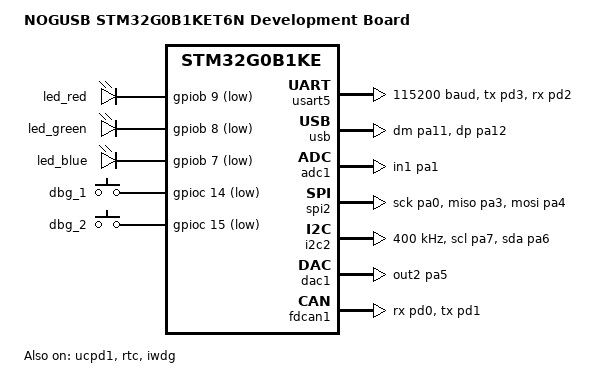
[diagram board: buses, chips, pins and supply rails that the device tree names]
/dts-v1/;
#include <st/g0/stm32g0b1Xe.dtsi>
#include <st/g0/stm32g0b1k(b-c-e)txn-pinctrl.dtsi>

/ {
    model = "NOGUSB STM32G0B1KET6N Development Board";
    compatible = "st,stm32g0b1ke";

    chosen {
        zephyr,console = &usart5;
        zephyr,sram = &sram0;
        zephyr,flash = &flash0;
        zephyr,code-partition = &slot0_partition;
    };

    aliases {
        led0 = &led_red;
        led1 = &led_green;
        led2 = &led_blue;
        sw0  = &dbg_1;
        sw1  = &dbg_2;
        mcuboot-led0 = &led_blue;
        mcuboot-button0 = &dbg_1;
    };

    leds {
        compatible = "gpio-leds";
        led_red:   led_0 { gpios = <&gpiob 9 GPIO_ACTIVE_LOW>; };
        led_green: led_1 { gpios = <&gpiob 8 GPIO_ACTIVE_LOW>; };
        led_blue:  led_2 { gpios = <&gpiob 7 GPIO_ACTIVE_LOW>; };
    };

    buttons {
        compatible = "gpio-keys";
        dbg_1: button_0 { gpios = <&gpioc 14 (GPIO_ACTIVE_LOW | GPIO_PULL_UP)>; };
        dbg_2: button_1 { gpios = <&gpioc 15 (GPIO_ACTIVE_LOW | GPIO_PULL_UP)>; };
    };
};

&clk_hsi {
    status = "okay";
};

&clk_hsi48 {
    status = "okay";
};

&pll { // 64 MHz
    status = "okay";
    div-m = <1>;
    mul-n = <8>;
    div-p = <2>;
    div-q = <2>;
    div-r = <2>;
    clocks = <&clk_hsi>;
};

&rcc {
    clocks = <&pll>;
    clock-frequency = <DT_FREQ_M(64)>;
    ahb-prescaler = <1>;
    apb1-prescaler = <1>;
};

&flash0 {
    partitions {
        compatible = "fixed-partitions";
        #address-cells = <1>;
        #size-cells = <1>;
        boot_partition: partition@0 {
            label = "mcuboot";
            reg = <0x00000000 0x00010000>; // 64KiB
            read-only;
        };
        slot0_partition: partition@10000 {
            label = "image-0";
            reg = <0x00010000 0x00070000>; // 448KiB
        };
    };
};

&usart5 {
    status = "okay";
    pinctrl-0 = <&usart5_tx_pd3 &usart5_rx_pd2>;
    pinctrl-names = "default";
    current-speed = <115200>;
};

zephyr_udc0: &usb {
    status = "okay";
    pinctrl-0 = <&usb_dm_pa11 &usb_dp_pa12>;
    pinctrl-names = "default";
};

&ucpd1 {
    status = "okay";
    interrupts = <30 0>; // interferes w/ usb, remap to unused CEC irq
    dead-battery;
    psc-ucpdclk = <1>;
    hbitclkdiv = <27>;
    pinctrl-0 = <&ucpd1_cc1_pa8 &ucpd1_cc2_pb15>;
    pinctrl-names = "default";
};

&adc1 {
    status = "okay";
    st,adc-clock-source = <SYNC>;
    st,adc-prescaler = <4>;
    pinctrl-0 = <&adc1_in1_pa1>;
    pinctrl-names = "default";
};

&spi2 {
    status = "okay";
    pinctrl-0 = <&spi2_sck_pa0 &spi2_miso_pa3 &spi2_mosi_pa4>;
    pinctrl-names = "default";
};

&i2c2 {
    status = "okay";
    clock-frequency = <I2C_BITRATE_FAST>;
    pinctrl-0 = <&i2c2_scl_pa7 &i2c2_sda_pa6>;
    pinctrl-names = "default";
};

&dac1 {
    status = "okay";
    pinctrl-0 = <&dac1_out2_pa5>;
    pinctrl-names = "default";
};

&fdcan1 {
    status = "okay";
    pinctrl-0 = <&fdcan1_rx_pd0 &fdcan1_tx_pd1>;
    pinctrl-names = "default";
};

&rtc {
    status = "okay";
};

&iwdg {
    status = "okay";
};
